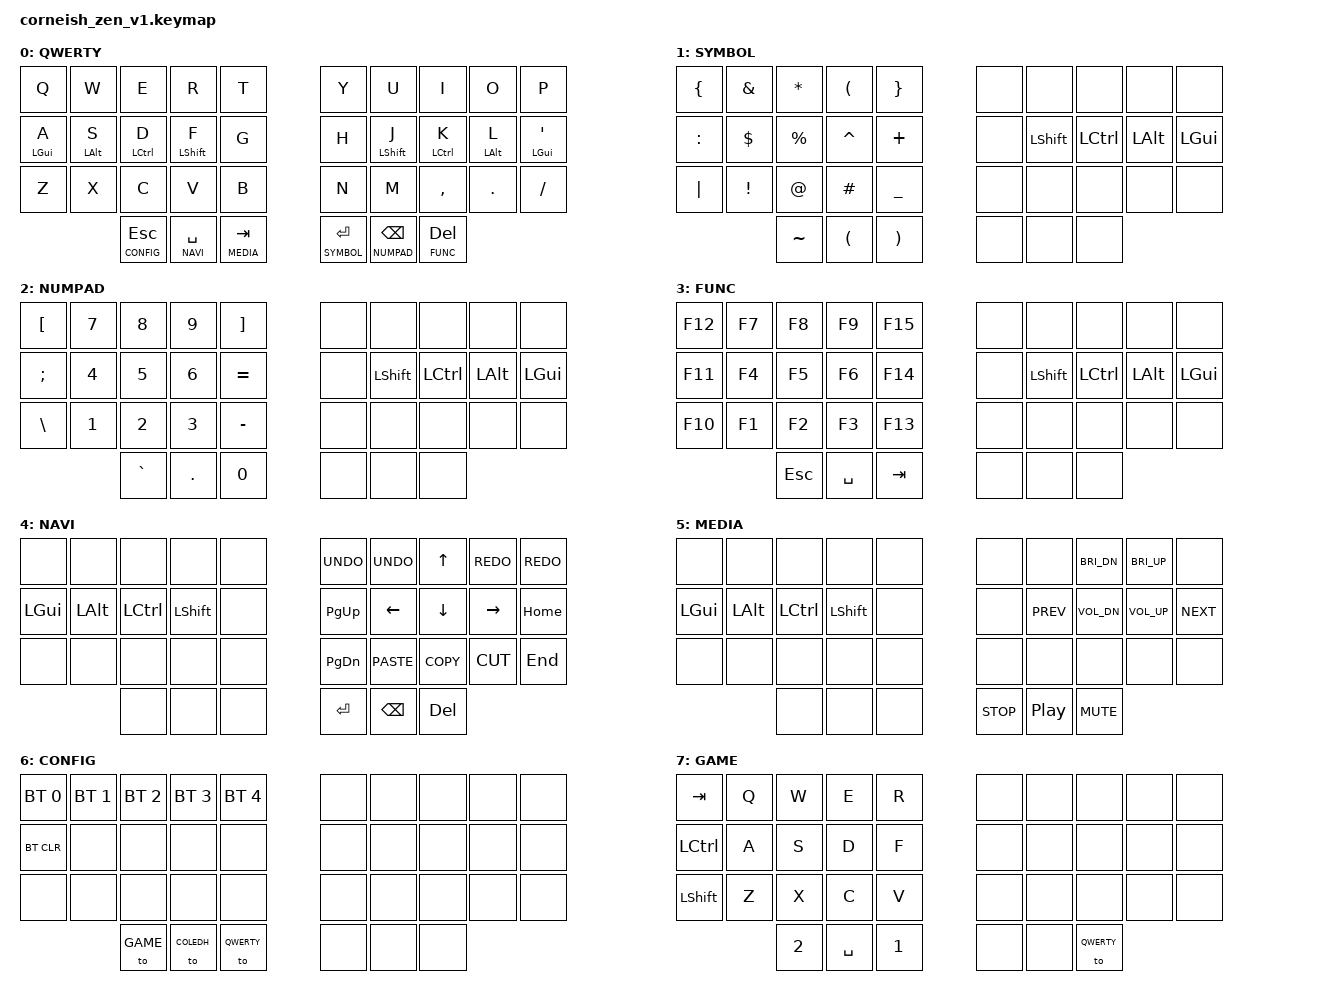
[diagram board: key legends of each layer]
/*
*
* apturner version
*   edited 10/12/2021
*   edited 09/08/2022 (add GAME layer)
*   edited 10/16/2026 (align with Ergodox)
* Modified version of miryoku (github.com/manna-harbour/miryoku)
* Modified layers:
*   QWERTY
*       swapped MEDIA and MOUSE/CONFIG
*       # NO LONGER swapped SPACE/BACKSP and their layers to inner thumb
*   NAVI
*       Rearranged to more closely match personal Ergodox layout
*   FUNC
*       removed system keys for more F keys
*   NUMPAD
*       moved keys around for suitability with swapped thumbs and LaTeX
*   SYMBOL
*       moved keys to match changes to NUMPAD layer
*   MEDIA
*       added brightness
* Removed layers:
*   MOUSE
*       replaced by CONFIG
* Added layers:
*   COLEDH
*   GAME
*
*/

#include <behaviors.dtsi>
#include <dt-bindings/zmk/keys.h>
#include <dt-bindings/zmk/bt.h>

#define QWERTY 0
#define SYMBOL 1
#define NUMPAD 2
#define FUNC   3
#define NAVI   4
#define MEDIA  5
#define CONFIG 6
#define GAME   7

/ {
    chosen {
        // zmk,physical-layout = &foostan_corne_6col_layout;
        zmk,physical-layout = &foostan_corne_5col_layout;
    };
};

/ {
    behaviors {
        hm: homerow_mods {
            compatible = "zmk,behavior-hold-tap";
            label = "HOMEROW_MODS";
            #binding-cells = <2>;
            tapping-term-ms = <200>;
            quick_tap_ms = <0>;
            flavor = "tap-preferred";
            bindings = <&kp>, <&kp>;
        };
    };

    keymap {
        compatible = "zmk,keymap";

        default_layer {
            label = "QWERTY";
// ----------------------------------------------------------------------
// |  Q  |  W  |  E  |  R  |  T  |        |  Y  |  U  |  I  |  O  |  P  |
// |A+GUI|S+ALT|D+CTL|F+SHF|  G  |        |  H  |J+SHF|K+CTL|L+ALT|'+GUI|
// |  Z  |  X  |  C  |  V  |  B  |        |  N  |  M  |  ,  |  .  |  /  |
//             | ESC | SPC | TAB |        | ENT | BSP | DEL |
//             |+CFG |+NAV |+MED |        |+SYM |+NUM |+FUN |
            bindings = <
&kp Q      &kp W      &kp E          &kp R          &kp T                &kp Y            &kp U           &kp I       &kp O      &kp P
&hm LGUI A &hm LALT S &hm LCTRL D    &hm LSHIFT F   &kp G                &kp H            &hm LSHIFT J    &hm LCTRL K &hm LALT L &hm LGUI APOS
&kp Z      &kp X      &kp C          &kp V          &kp B                &kp N            &kp M           &kp COMMA   &kp PERIOD &kp SLASH
                      &lt CONFIG ESC &lt NAVI SPACE &lt MEDIA TAB        &lt SYMBOL ENTER &lt NUMPAD BSPC &lt FUNC DEL
            >;
        };

        symbol_layer {
            label = "SYMBOL";
// ----------------------------------------------------------------------
// |  {  |  &  |  *  |  (  |  }  |        |     |     |     |     |     |
// |  :  |  $  |  %  |  ^  |  +  |        |     | SHF | CTL | ALT | GUI |
// |  |  |  !  |  @  |  #  |  _  |        |     |     |     |     |     |
//             |  ~  |  (  |  )  |        |     |     |     |
            bindings = <
&kp LBRC  &kp AMPS   &kp STAR    &kp LPAR  &kp RBRC         &none &none      &none     &none    &none
&kp COLON &kp DOLLAR &kp PERCENT &kp CARET &kp PLUS         &none &kp LSHIFT &kp LCTRL &kp LALT &kp LGUI
&kp PIPE  &kp EXCL   &kp AT_SIGN &kp POUND &kp UNDER        &none &none      &none     &none    &none
                     &kp TILDE   &kp LPAR  &kp RPAR         &none &none      &none
            >;
        };

        numpad_layer {
            label = "NUMPAD";
// ----------------------------------------------------------------------
// |  [  |  7  |  8  |  9  |  ]  |        |     |     |     |     |     |
// |  ;  |  4  |  5  |  6  |  =  |        |     | SHF | CTL | ALT | GUI |
// |  \  |  1  |  2  |  3  |  -  |        |     |     |     |     |     |
//             |  `  |  .  |  0  |        |     |     |     |
            bindings = <
&kp LBKT &kp N7 &kp N8    &kp N9     &kp RBKT         &none &none      &none     &none    &none
&kp SEMI &kp N4 &kp N5    &kp N6     &kp EQUAL        &none &kp LSHIFT &kp LCTRL &kp LALT &kp LGUI
&kp BSLH &kp N1 &kp N2    &kp N3     &kp MINUS        &none &none      &none     &none    &none
                &kp GRAVE &kp PERIOD &kp N0           &none &none      &none
            >;
        };

        function_layer {
            label = "FUNC";
// ----------------------------------------------------------------------
// | F12 | F7  | F8  | F9  | F15 |        |     |     |     |     |     |
// | F11 | F4  | F5  | F6  | F14 |        |     | SHF | CTL | ALT | GUI |
// | F10 | F1  | F2  | F3  | F13 |        |     |     |     |     |     |
//             | ESC | SPC | TAB |        |     |     |     |
            bindings = <
&kp F12 &kp F7 &kp F8  &kp F9    &kp F15        &none &none      &none     &none    &none
&kp F11 &kp F4 &kp F5  &kp F6    &kp F14        &none &kp LSHIFT &kp LCTRL &kp LALT &kp LGUI
&kp F10 &kp F1 &kp F2  &kp F3    &kp F13        &none &none      &none     &none    &none
               &kp ESC &kp SPACE &kp TAB        &none &none      &none
            >;
        };

        navigation_layer {
            label = "NAVI";
// ----------------------------------------------------------------------
// |     |     |     |     |     |        |UNDO |UNDO |UARR |REDO |REDO |
// | GUI | ALT | CTL | SHF |     |        |PGUP |LARR |DARR |RARR |HOME |
// |     |     |     |     |     |        |PGDN |PASTE|COPY | CUT | END |
//             |     |     |     |        | ENT | BSP | DEL |
            bindings = <
&none    &none    &none     &none      &none        &kp K_UNDO &kp K_UNDO  &kp UP     &kp K_REDO &kp K_REDO
&kp LGUI &kp LALT &kp LCTRL &kp LSHIFT &none        &kp PG_UP  &kp LEFT    &kp DOWN   &kp RIGHT  &kp HOME
&none    &none    &none     &none      &none        &kp PG_DN  &kp K_PASTE &kp K_COPY &kp K_CUT  &kp END
                  &none     &none      &none        &kp ENTER  &kp BSPC    &kp DEL
            >;
        };

        media_layer {
            label = "MEDIA";
// ----------------------------------------------------------------------
// |     |     |     |     |     |        |     |     |BRID |BRIU |     |
// | GUI | ALT | CTL | SHF |     |        |     |PREV |VOLD |VOLU |NEXT |
// |     |     |     |     |     |        |     |     |     |     |     |
//             |     |     |     |        |STOP |PLAY |MUTE |
            bindings = <
&none    &none    &none     &none      &none        &none      &none      &kp C_BRI_DN &kp C_BRI_UP &none
&kp LGUI &kp LALT &kp LCTRL &kp LSHIFT &none        &none      &kp C_PREV &kp C_VOL_DN &kp C_VOL_UP &kp C_NEXT
&none    &none    &none     &none      &none        &none      &none      &none        &none        &none
                  &none     &none      &none        &kp C_STOP &kp C_PP   &kp K_MUTE
            >;
        };

        configuration_layer {
            label = "CONFIG";
// ----------------------------------------------------------------------
// | BT1 | BT2 | BT3 | BT4 | BT5 |        |     |     |     |     |     |
// |BTCLR|     |     |     |     |        |     |     |     |     |     |
// |     |     |     |     |     |        |     |     |     |     |     |
//             |GAME |COLEM|QWERT|        |     |     |     |
            bindings = <
&bt BT_SEL 0 &bt BT_SEL 1 &bt BT_SEL 2 &bt BT_SEL 3 &bt BT_SEL 4        &none &none &none &none &none
&bt BT_CLR   &none        &none        &none        &none               &none &none &none &none &none
&none        &none        &none        &none        &none               &none &none &none &none &none
                          &to GAME     &to COLEDH   &to QWERTY          &none &none &none
            >;
        };

        game_layer {
            label = "GAME";
// ----------------------------------------------------------------------
// | TAB |  Q  |  W  |  E  |  R  |        |     |     |     |     |     |
// | CTL |  A  |  S  |  D  |  F  |        |     |     |     |     |     |
// | SHF |  Z  |  X  |  C  |  V  |        |     |     |     |     |     |
//             |  2  | SPC |  1  |        |     |     |QWERT|
            bindings = <
&kp TAB    &kp Q &kp W  &kp E     &kp R         &none &none &none      &none &none
&kp LCTRL  &kp A &kp S  &kp D     &kp F         &none &none &none      &none &none
&kp LSHIFT &kp Z &kp X  &kp C     &kp V         &none &none &none      &none &none
                 &kp N2 &kp SPACE &kp N1        &none &none &to QWERTY
            >;
        };
    };
};
